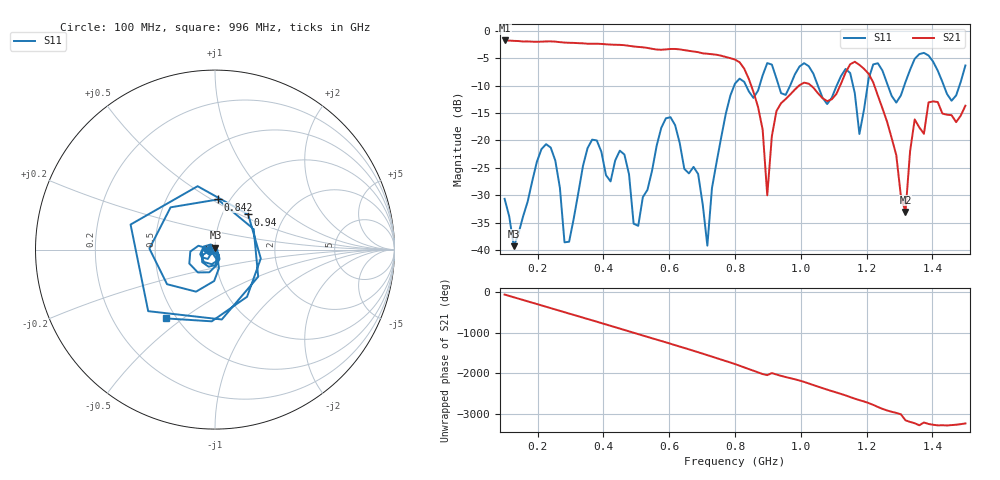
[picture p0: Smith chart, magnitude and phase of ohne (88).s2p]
! NanoVNA-App
! Date: 2025-09-26 09:56:05
! Start: 100MHz Stop: 1,5GHz Points: 101
! S-Parameter data: F S11 S21 S12 S22
# Hz S RI R 50
!  Frequency  S11_Real  S11_Imag  S21_Real  S21_Imag  S12_Real  S12_Imag  S22_Real  S22_Imag
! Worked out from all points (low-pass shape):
!   101 points, 100 MHz to 1.5 GHz, reference 50 ohm
!   highest |S21| = -1.79 dB at 100 MHz (marker M1); lowest = -33.0 dB at 1.318 GHz (marker M2)
!   |S21| within 3 dB of the highest: start of sweep to 771.2 MHz
!   lowest |S11| = -39.3 dB at 128 MHz (marker M3), VSWR 1.02, Z = 50.3 + j1.06 ohm
!   |S11| at or under -10 dB: start of sweep to 797.7 MHz; 833.4 MHz to 874.7 MHz (41.26 MHz wide, 4.83 % of centre); 1.052 GHz to 1.109 GHz (57.36 MHz wide, 5.31 % of centre) (the widest 3 of 7)
!   S12 and S22 are empty: the file has one direction only
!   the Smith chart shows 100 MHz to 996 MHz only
!   S11 on the Smith chart (normalised r, x): 100 MHz: 0.94, -0.01; 842 MHz: 0.88, +0.53; 940 MHz: 1.32, +0.56; 996 MHz: 0.44, -0.43
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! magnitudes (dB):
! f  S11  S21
! 100 MHz  -30.6  -1.8
! 128 MHz  -39.3  -1.9
! 212 MHz  -21.6  -2.0
! 254 MHz  -23.7  -2.0
! 282 MHz  -38.6  -2.2
! 338 MHz  -24.7  -2.3
! 464 MHz  -22.6  -2.6
! 506 MHz  -35.6  -3.0
! 576 MHz  -17.7  -3.5
! 688 MHz  -26.1  -3.9
! 716 MHz  -39.2  -4.2
! 800 MHz  -9.6  -5.3
! 842 MHz  -11.1  -8.8
! 898 MHz  -5.9  -30.0
! 940 MHz  -11.4  -13.2
! 996 MHz  -6.5  -9.9
! 1.038 GHz  -7.8  -10.4
! 1.164 GHz  -11.4  -5.7
! 1.276 GHz  -11.9  -19.6
! 1.318 GHz  -9.4  -33.0
! 1.346 GHz  -5.1  -16.2
! 1.5 GHz  -6.4  -13.7
